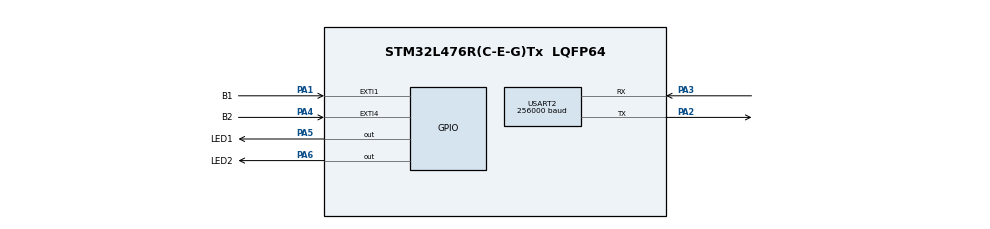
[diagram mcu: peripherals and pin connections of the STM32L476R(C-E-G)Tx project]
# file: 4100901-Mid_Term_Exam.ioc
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Mcu.Family=STM32L4
Mcu.Name=STM32L476R(C-E-G)Tx
Mcu.Package=LQFP64
NVIC.EXTI1_IRQn=true\:0\:0\:false\:false\:true\:true\:true\:true
NVIC.EXTI4_IRQn=true\:0\:0\:false\:false\:true\:true\:true\:true
NVIC.PriorityGroup=NVIC_PRIORITYGROUP_4
NVIC.USART2_IRQn=true\:0\:0\:false\:false\:true\:true\:true\:true
PA1.GPIO_Label=B1
PA1.GPIO_ModeDefaultEXTI=GPIO_MODE_IT_RISING
PA1.Signal=GPXTI1
PA2.Mode=Asynchronous
PA2.Signal=USART2_TX
PA3.Mode=Asynchronous
PA3.Signal=USART2_RX
PA4.GPIO_Label=B2
PA4.GPIO_ModeDefaultEXTI=GPIO_MODE_IT_RISING
PA4.Signal=GPXTI4
PA5.GPIO_Label=LED1
PA5.Signal=GPIO_Output
PA6.GPIO_Label=LED2
PA6.Signal=GPIO_Output
ProjectManager.HeapSize=0x200
ProjectManager.StackSize=0x400
ProjectManager.TargetToolchain=STM32CubeIDE
RCC.APB2Freq_Value=4000000
RCC.APB2TimFreq_Value=4000000
RCC.CortexFreq_Value=4000000
RCC.HSE_VALUE=8000000
RCC.HSI_VALUE=16000000
RCC.LSE_VALUE=32768
RCC.MSI_VALUE=4000000
RCC.USART2CLockSelection=RCC_USART2CLKSOURCE_HSI
RCC.VCOOutputFreq_Value=32000000
USART2.BaudRate=256000
USART2.VirtualMode-Asynchronous=VM_ASYNC
board=custom

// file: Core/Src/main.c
/* USER CODE BEGIN Header */
/**
  ******************************************************************************
  * @file           : main.c
  * @brief          : Main program body
  ******************************************************************************
  * @attention
  *
  * Copyright (c) 2024 STMicroelectronics.
  * All rights reserved.
  *
  * This software is licensed under terms that can be found in the LICENSE file
  * in the root directory of this software component.
  * If no LICENSE file comes with this software, it is provided AS-IS.
  *
  ******************************************************************************
  */
/* USER CODE END Header */
#include "main.h"

UART_HandleTypeDef huart2;

/* USER CODE BEGIN PV */
uint8_t TL[] = "Turn LEFT\n\r";
uint8_t TR[] = "Turn RIGHT\n\r";

uint8_t TLL[] = "Turn LEFT indefinitely\n\r";
uint8_t TRR[] = "Turn RIGHT indefinitely\n\r";
uint8_t stac[] = "Stationary mode \n\r";

volatile uint8_t flag_left = 0;
volatile uint8_t flag_right = 0;
volatile uint8_t timmingb1= 0;
volatile uint8_t timmingb2= 0;
volatile uint8_t localtim = 0;
uint32_t last_button_press_left = 0;
uint32_t last_button_press_right = 0;
const uint32_t debounceDelay = 50; // 50ms debounce delay
const uint32_t doublePressTime = 500; // max time for double press

/* USER CODE END PV */

void SystemClock_Config(void);
static void MX_GPIO_Init(void);
static void MX_USART2_UART_Init(void);

int main(void)
{

  /* MCU Configuration--------------------------------------------------------*/

  /* Reset of all peripherals, Initializes the Flash interface and the Systick. */
  HAL_Init();

  /* Configure the system clock */
  SystemClock_Config();

  /* Initialize all configured peripherals */
  MX_GPIO_Init();
  MX_USART2_UART_Init();

  /* Infinite loop */
  /* USER CODE BEGIN WHILE */
  while (1)
  {

	      // Logic to implement toggle led's
	  //  first on turn led
	         if (flag_left) {
	             flag_left = 0;
	             if (timmingb1 == 1) { // if b1 is pressed
	                 for (int i = 0; i < 3; i++) {
	                     HAL_GPIO_WritePin(GPIOA, LED1_Pin, GPIO_PIN_SET);
	                     HAL_Delay(125); // 4Hz = 125ms encendido
	                     HAL_GPIO_WritePin(GPIOA, LED1_Pin, GPIO_PIN_RESET);
	                     HAL_Delay(125);
	                 }
	                 HAL_UART_Transmit(&huart2, TL, sizeof(TL) - 1, 100);
	             } else if (timmingb1 >= 2) { // Si se presiona más de 2 veces
	                 HAL_UART_Transmit(&huart2, TLL, sizeof(TLL) - 1, 100);
	                 while (1) { //
	                     HAL_GPIO_WritePin(GPIOA, LED1_Pin, GPIO_PIN_SET);
	                     HAL_Delay(125);
	                     HAL_GPIO_WritePin(GPIOA, LED1_Pin, GPIO_PIN_RESET);
	                     HAL_Delay(125);
	                     if (flag_left || flag_right) { // Press any button to close loop
	                         break;
	                     }
	                 }
	             }
	         }

	         //  turn right
	         if (flag_right) {
	             flag_right = 0;
	             if (timmingb2 == 1) {
	                 for (int i = 0; i < 3; i++) {
	                     HAL_GPIO_WritePin(GPIOA, LED2_Pin, GPIO_PIN_SET);
	                     HAL_Delay(125); // 4Hz = 125ms
	                     HAL_GPIO_WritePin(GPIOA, LED2_Pin, GPIO_PIN_RESET);
	                     HAL_Delay(125);
	                 }
	                 HAL_UART_Transmit(&huart2, TR, sizeof(TR) - 1, 100);
	             } else if (timmingb2 >= 2) {
	                 HAL_UART_Transmit(&huart2, TRR, sizeof(TRR) - 1, 100);
	                 while (1) {
	                     HAL_GPIO_WritePin(GPIOA, LED2_Pin, GPIO_PIN_SET);
	                     HAL_Delay(125);
	                     HAL_GPIO_WritePin(GPIOA, LED2_Pin, GPIO_PIN_RESET);
	                     HAL_Delay(125);
	                     if (flag_left || flag_right) {
	                         break;
	                     }
	                 }
	             }
	         }

	         // stationary mode
	         if (timmingb1 >= 1 && timmingb2 >= 1 &&
	             (HAL_GetTick() - last_button_press_left < doublePressTime) &&
	             (HAL_GetTick() - last_button_press_right < doublePressTime)) {

	             HAL_UART_Transmit(&huart2, stac, sizeof(stac) - 1, 100);

	             while (1) {
	                 HAL_GPIO_WritePin(GPIOA, LED1_Pin, GPIO_PIN_SET);
	                 HAL_GPIO_WritePin(GPIOA, LED2_Pin, GPIO_PIN_SET);
	                 HAL_Delay(125);
	                 HAL_GPIO_WritePin(GPIOA, LED1_Pin, GPIO_PIN_RESET);
	                 HAL_GPIO_WritePin(GPIOA, LED2_Pin, GPIO_PIN_RESET);
	                 HAL_Delay(125);
	                 if (flag_left || flag_right) { // press any button to close loop

	                     break;
	                 }
	             }

	             // Reset to contrarrest debounce
	             timmingb1 = 0;
	             timmingb2 = 0;

	         }

    /* USER CODE END WHILE */

  }
}
void SystemClock_Config(void)
{
  RCC_OscInitTypeDef RCC_OscInitStruct = {0};
  RCC_ClkInitTypeDef RCC_ClkInitStruct = {0};

  /** Configure the main internal regulator output voltage
  */
  if (HAL_PWREx_ControlVoltageScaling(PWR_REGULATOR_VOLTAGE_SCALE1) != HAL_OK)
  {
    Error_Handler();
  }

  /** Initializes the RCC Oscillators according to the specified parameters
  * in the RCC_OscInitTypeDef structure.
  */
  RCC_OscInitStruct.OscillatorType = RCC_OSCILLATORTYPE_HSI|RCC_OSCILLATORTYPE_MSI;
  RCC_OscInitStruct.HSIState = RCC_HSI_ON;
  RCC_OscInitStruct.HSICalibrationValue = RCC_HSICALIBRATION_DEFAULT;
  RCC_OscInitStruct.MSIState = RCC_MSI_ON;
  RCC_OscInitStruct.MSICalibrationValue = 0;
  RCC_OscInitStruct.MSIClockRange = RCC_MSIRANGE_6;
  RCC_OscInitStruct.PLL.PLLState = RCC_PLL_NONE;
  if (HAL_RCC_OscConfig(&RCC_OscInitStruct) != HAL_OK)
  {
    Error_Handler();
  }

  /** Initializes the CPU, AHB and APB buses clocks
  */
  RCC_ClkInitStruct.ClockType = RCC_CLOCKTYPE_HCLK|RCC_CLOCKTYPE_SYSCLK
                              |RCC_CLOCKTYPE_PCLK1|RCC_CLOCKTYPE_PCLK2;
  RCC_ClkInitStruct.SYSCLKSource = RCC_SYSCLKSOURCE_MSI;
  RCC_ClkInitStruct.AHBCLKDivider = RCC_SYSCLK_DIV1;
  RCC_ClkInitStruct.APB1CLKDivider = RCC_HCLK_DIV1;
  RCC_ClkInitStruct.APB2CLKDivider = RCC_HCLK_DIV1;

  if (HAL_RCC_ClockConfig(&RCC_ClkInitStruct, FLASH_LATENCY_0) != HAL_OK)
  {
    Error_Handler();
  }
}

static void MX_USART2_UART_Init(void)
{

  huart2.Instance = USART2;
  huart2.Init.BaudRate = 256000;
  huart2.Init.WordLength = UART_WORDLENGTH_8B;
  huart2.Init.StopBits = UART_STOPBITS_1;
  huart2.Init.Parity = UART_PARITY_NONE;
  huart2.Init.Mode = UART_MODE_TX_RX;
  huart2.Init.HwFlowCtl = UART_HWCONTROL_NONE;
  huart2.Init.OverSampling = UART_OVERSAMPLING_16;
  huart2.Init.OneBitSampling = UART_ONE_BIT_SAMPLE_DISABLE;
  huart2.AdvancedInit.AdvFeatureInit = UART_ADVFEATURE_NO_INIT;
  if (HAL_UART_Init(&huart2) != HAL_OK)
  {
    Error_Handler();
  }

}

static void MX_GPIO_Init(void)
{
  GPIO_InitTypeDef GPIO_InitStruct = {0};

  /* GPIO Ports Clock Enable */
  __HAL_RCC_GPIOA_CLK_ENABLE();

  /*Configure GPIO pin Output Level */
  HAL_GPIO_WritePin(GPIOA, LED1_Pin|LED2_Pin, GPIO_PIN_RESET);

  /*Configure GPIO pins : B1_Pin B2_Pin */
  GPIO_InitStruct.Pin = B1_Pin|B2_Pin;
  GPIO_InitStruct.Mode = GPIO_MODE_IT_RISING;
  GPIO_InitStruct.Pull = GPIO_NOPULL;
  HAL_GPIO_Init(GPIOA, &GPIO_InitStruct);

  /*Configure GPIO pins : LED1_Pin LED2_Pin */
  GPIO_InitStruct.Pin = LED1_Pin|LED2_Pin;
  GPIO_InitStruct.Mode = GPIO_MODE_OUTPUT_PP;
  GPIO_InitStruct.Pull = GPIO_NOPULL;
  GPIO_InitStruct.Speed = GPIO_SPEED_FREQ_LOW;
  HAL_GPIO_Init(GPIOA, &GPIO_InitStruct);

  /* EXTI interrupt init*/
  HAL_NVIC_SetPriority(EXTI1_IRQn, 0, 0);
  HAL_NVIC_EnableIRQ(EXTI1_IRQn);

  HAL_NVIC_SetPriority(EXTI4_IRQn, 0, 0);
  HAL_NVIC_EnableIRQ(EXTI4_IRQn);

}

/* USER CODE BEGIN 4 */

// Function used for implement the interruption from the system

void HAL_GPIO_EXTI_Callback(uint16_t GPIO_Pin) {
    uint32_t current_time = HAL_GetTick(); // get actual time on ms

    if (GPIO_Pin == B1_Pin) { // Button 1 is pressed
        if (current_time - last_button_press_left < 500) {
            timmingb1++; // Increase counter button 1
        } else {
            timmingb1 = 1; // Reset counter if time is 500ms or plus
        }
        last_button_press_left = current_time;
        flag_left = 1;
    }

    if (GPIO_Pin == B2_Pin) { // button 2 is pressed
        if (current_time - last_button_press_right < 500) {
            timmingb2++;
        } else {
            timmingb2 = 1; // reset counter
        }
        last_button_press_right = current_time;
        flag_right = 1;
    }
}
/* USER CODE END 4 */

void Error_Handler(void)
{
  __disable_irq();
  while (1)
  {
  }
}
